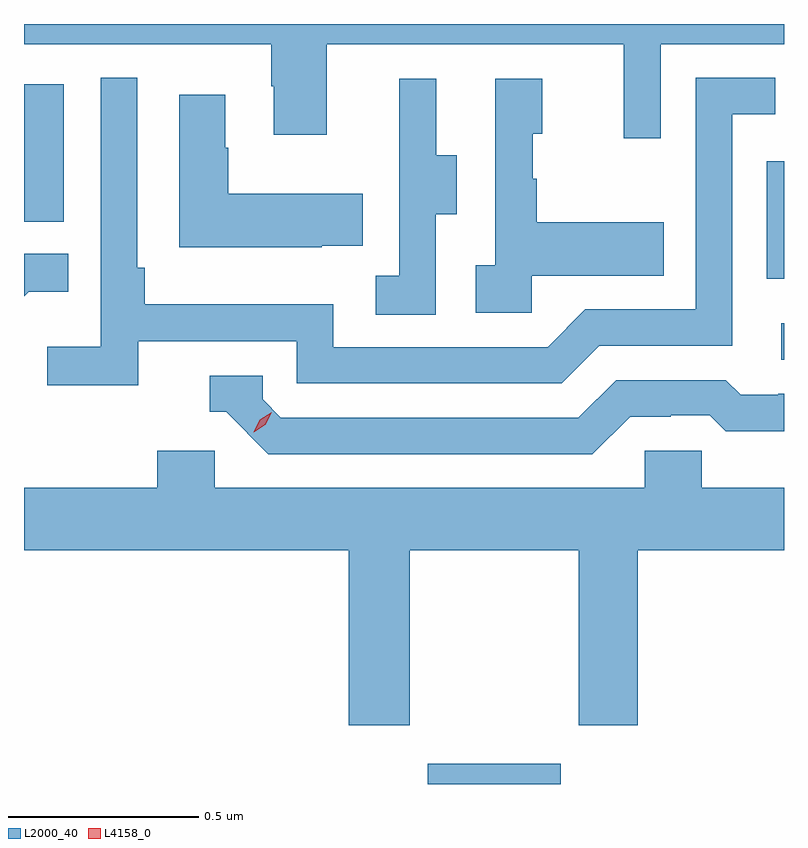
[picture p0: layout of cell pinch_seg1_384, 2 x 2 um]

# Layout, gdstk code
import gdstk
lib = gdstk.Library(unit=1e-6, precision=1e-09)
def R(c, l, rs):  # rectangles x0, y0, x1, y1
    for r in rs: c.add(gdstk.rectangle(r[:2], r[2:], *l))
def P(c, l, *ps):  # polygons
    for p in ps: c.add(gdstk.Polygon(p, *l))
L2000_40 = (2000, 40)
L4158_0 = (4158, 0)

pinch_seg1_384 = lib.new_cell('pinch_seg1_384')
R(pinch_seg1_384, L2000_40, [(967.214,535.133,967.564,535.186), (968.145,536.25,968.152,536.346), (968.106,536.463,968.152,536.772), (966.152,536.613,966.256,536.974)])
P(pinch_seg1_384, L2000_40, [(967.827,537.08),(968.152,537.08),(968.152,537.133),(966.152,537.133),(966.152,537.08),(966.802,537.08),(966.802,536.969),(966.809,536.969),(966.809,536.841),(966.949,536.841),(966.949,537.08),(967.73,537.08),(967.73,536.832),(967.827,536.832)],
  [(966.452,536.298),(966.87,536.298),(966.87,536.187),(967.567,536.187),(967.666,536.286),(968.016,536.286),(968.016,536.895),(968.129,536.895),(968.129,536.991),(967.92,536.991),(967.92,536.382),(967.629,536.382),(967.53,536.283),(966.966,536.283),(966.966,536.395),(966.47,536.395),(966.47,536.491),(966.45,536.491),(966.45,536.992),(966.354,536.992),(966.354,536.284),(966.213,536.284),(966.213,536.182),(966.452,536.182)],
  [(967.236,536.632),(967.291,536.632),(967.291,536.787),(967.237,536.787),(967.237,536.989),(967.139,536.989),(967.139,536.775),(967.14,536.775),(967.14,536.471),(967.077,536.471),(967.077,536.368),(967.236,536.368)],
  [(967.488,536.471),(967.835,536.471),(967.835,536.611),(967.501,536.611),(967.501,536.726),(967.491,536.726),(967.491,536.844),(967.516,536.844),(967.516,536.989),(967.392,536.989),(967.392,536.498),(967.341,536.498),(967.341,536.373),(967.488,536.373)],
  [(966.935,536.549),(967.043,536.549),(967.043,536.686),(966.69,536.686),(966.69,536.808),(966.682,536.808),(966.682,536.947),(966.56,536.947),(966.56,536.546),(966.935,536.546)],
  [(966.165,536.429),(966.269,536.429),(966.269,536.528),(966.152,536.528),(966.152,536.416)],
  [(967.747,536.1),(967.854,536.1),(967.854,536.103),(967.957,536.103),(967.999,536.061),(968.152,536.061),(968.152,536.16),(968.137,536.16),(968.137,536.157),(968.038,536.157),(967.999,536.196),(967.71,536.196),(967.611,536.097),(966.828,536.097),(966.78,536.145),(966.78,536.208),(966.641,536.208),(966.641,536.112),(966.684,536.112),(966.795,536.001),(967.648,536.001)],
  [(966.654,536.01),(966.503,536.01),(966.503,535.912),(966.152,535.912),(966.152,535.748),(967.007,535.748),(967.007,535.287),(967.167,535.287),(967.167,535.748),(967.612,535.748),(967.612,535.287),(967.767,535.287),(967.767,535.748),(968.152,535.748),(968.152,535.912),(967.935,535.912),(967.935,536.01),(967.785,536.01),(967.785,535.912),(966.654,535.912)])
P(pinch_seg1_384, L4158_0, [(966.756,536.059),(966.756,536.06),(966.773,536.092),(966.804,536.111),(966.804,536.111),(966.804,536.111),(966.787,536.079),(966.756,536.059)])

lib.write_gds('pinch_seg1_384.gds')
